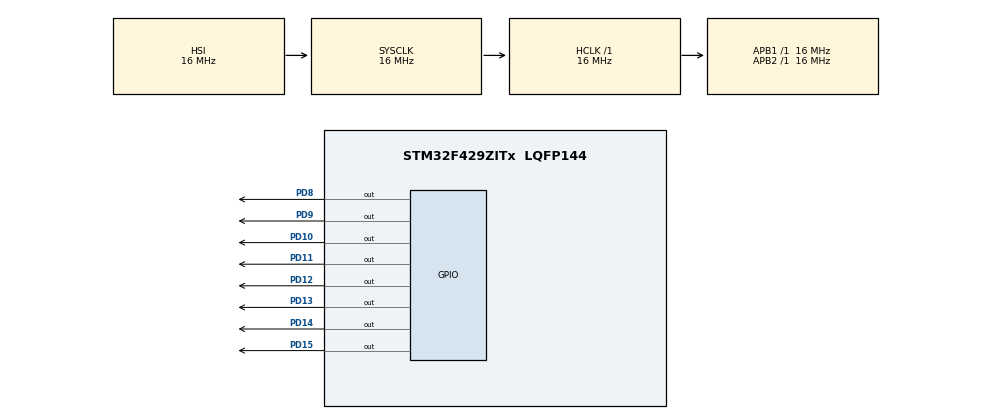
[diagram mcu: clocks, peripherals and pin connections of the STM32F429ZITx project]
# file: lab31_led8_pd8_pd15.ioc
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Mcu.Family=STM32F4
Mcu.Name=STM32F429ZITx
Mcu.Package=LQFP144
NVIC.PriorityGroup=NVIC_PRIORITYGROUP_4
PD10.Signal=GPIO_Output
PD11.Signal=GPIO_Output
PD12.Signal=GPIO_Output
PD13.Signal=GPIO_Output
PD14.Signal=GPIO_Output
PD15.Signal=GPIO_Output
PD8.Signal=GPIO_Output
PD9.Signal=GPIO_Output
ProjectManager.HeapSize=0x200
ProjectManager.StackSize=0x400
ProjectManager.TargetToolchain=STM32CubeIDE
RCC.AHBFreq_Value=16000000
RCC.APB1Freq_Value=16000000
RCC.APB2Freq_Value=16000000
RCC.CortexFreq_Value=16000000
RCC.HSE_VALUE=25000000
RCC.HSI_VALUE=16000000
RCC.LSE_VALUE=32768
RCC.SYSCLKFreq_VALUE=16000000
RCC.VCOOutputFreq_Value=192000000
board=custom

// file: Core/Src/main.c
/* USER CODE BEGIN Header */
/**
  ******************************************************************************
  * @file           : main.c
  * @brief          : Main program body
  ******************************************************************************
  * @attention
  *
  * Copyright (c) 2026 STMicroelectronics.
  * All rights reserved.
  *
  * This software is licensed under terms that can be found in the LICENSE file
  * in the root directory of this software component.
  * If no LICENSE file comes with this software, it is provided AS-IS.
  *
  ******************************************************************************
  */
/* USER CODE END Header */

#include "main.h"

/* USER CODE BEGIN PD */
#define MODE_ORIGINAL      0
#define MODE_RUN_L         1
#define MODE_RUN_R         2
#define MODE_FLASH         3
#define MODE_SPOT_BUMPER   4
/* USER CODE END PD */

/* USER CODE BEGIN PV */
uint8_t LED_Value = 0x00;
/* USER CODE END PV */

void SystemClock_Config(void);
static void MX_GPIO_Init(void);

/* USER CODE BEGIN PFP */
uint8_t DisplayLEDs(uint8_t mode);
void WriteLEDBar(uint8_t value);
/* USER CODE END PFP */

/* USER CODE BEGIN 0 */

/*
  Ghi 8 bit ra dãy LED đơn:
  bit7 -> PD15
  bit6 -> PD14
  bit5 -> PD13
  bit4 -> PD12
  bit3 -> PD11
  bit2 -> PD10
  bit1 -> PD9
  bit0 -> PD8
*/
void WriteLEDBar(uint8_t value)
{
  HAL_GPIO_WritePin(GPIOD, GPIO_PIN_15, (value & 0x80) ? GPIO_PIN_SET : GPIO_PIN_RESET);
  HAL_GPIO_WritePin(GPIOD, GPIO_PIN_14, (value & 0x40) ? GPIO_PIN_SET : GPIO_PIN_RESET);
  HAL_GPIO_WritePin(GPIOD, GPIO_PIN_13, (value & 0x20) ? GPIO_PIN_SET : GPIO_PIN_RESET);
  HAL_GPIO_WritePin(GPIOD, GPIO_PIN_12, (value & 0x10) ? GPIO_PIN_SET : GPIO_PIN_RESET);
  HAL_GPIO_WritePin(GPIOD, GPIO_PIN_11, (value & 0x08) ? GPIO_PIN_SET : GPIO_PIN_RESET);
  HAL_GPIO_WritePin(GPIOD, GPIO_PIN_10, (value & 0x04) ? GPIO_PIN_SET : GPIO_PIN_RESET);
  HAL_GPIO_WritePin(GPIOD, GPIO_PIN_9,  (value & 0x02) ? GPIO_PIN_SET : GPIO_PIN_RESET);
  HAL_GPIO_WritePin(GPIOD, GPIO_PIN_8,  (value & 0x01) ? GPIO_PIN_SET : GPIO_PIN_RESET);
}

/*
  Hàm chạy 1 bước hiệu ứng.
  Trả về:
    0 -> chưa hết 1 chu kỳ
    1 -> vừa chạy xong 1 chu kỳ của mode hiện tại
*/
uint8_t DisplayLEDs(uint8_t mode)
{
  static uint8_t last_mode = 255;
  static uint8_t flash_state = 0;
  static uint8_t bumper_index = 0;
  uint8_t cycle_done = 0;

  static const uint8_t bumper_pattern[] =
  {
    0x00,   // 00000000
    0x81,   // 10000001
    0x42,   // 01000010
    0x24,   // 00100100
    0x18,   // 00011000
    0x18,   // giữ giữa thêm 1 nhịp
    0x24,
    0x42,
    0x81,
    0x00
  };

  /* Nếu mới đổi mode thì reset trạng thái */
  if (mode != last_mode)
  {
    last_mode = mode;
    LED_Value = 0x00;
    flash_state = 0;
    bumper_index = 0;
  }

  switch (mode)
  {
    case MODE_ORIGINAL:
      /*
        Quay vòng bit:
        00000001 -> 10000000 -> 01000000 -> ... -> 00000001
      */
      if (LED_Value == 0x00)
      {
        LED_Value = 0x01;
      }
      else
      {
        LED_Value = (uint8_t)((LED_Value >> 1) | (LED_Value << 7));
        if (LED_Value == 0x01)
        {
          cycle_done = 1;
        }
      }
      break;

    case MODE_RUN_L:
      /*
        Running spot L: bật lần lượt từng LED từ phải qua trái
        00000000 -> 00000001 -> 00000010 -> ... -> 10000000 -> 00000000
      */
      if (LED_Value == 0x00)
      {
        LED_Value = 0x01;
      }
      else if (LED_Value == 0x80)
      {
        LED_Value = 0x00;
        cycle_done = 1;
      }
      else
      {
        LED_Value <<= 1;
      }
      break;

    case MODE_RUN_R:
      /*
        Running spot R: bật lần lượt từng LED từ trái qua phải
        00000000 -> 10000000 -> 01000000 -> ... -> 00000001 -> 00000000
      */
      if (LED_Value == 0x00)
      {
        LED_Value = 0x80;
      }
      else if (LED_Value == 0x01)
      {
        LED_Value = 0x00;
        cycle_done = 1;
      }
      else
      {
        LED_Value >>= 1;
      }
      break;

    case MODE_FLASH:
      /*
        Flash:
        00000000 -> 11111111 -> 00000000
        Khi quay về 00000000 thì tính là hết 1 chu kỳ
      */
      flash_state = !flash_state;
      LED_Value = flash_state ? 0xFF : 0x00;

      if (LED_Value == 0x00)
      {
        cycle_done = 1;
      }
      break;

    case MODE_SPOT_BUMPER:
      /*
        Spot bumper:
        2 LED đối xứng từ ngoài vào trong rồi từ trong ra ngoài
      */
      LED_Value = bumper_pattern[bumper_index];
      bumper_index++;

      if (bumper_index >= (sizeof(bumper_pattern) / sizeof(bumper_pattern[0])))
      {
        bumper_index = 0;
        cycle_done = 1;
      }
      break;

    default:
      LED_Value = 0x00;
      break;
  }

  WriteLEDBar(LED_Value);
  return cycle_done;
}

/* USER CODE END 0 */

int main(void)
{
  /* USER CODE BEGIN 1 */
  uint8_t mode_index = 0;
  uint8_t repeat_count = 0;

  const uint8_t mode_list[] =
  {
    MODE_RUN_L,
    MODE_RUN_R,
    MODE_FLASH,
    MODE_SPOT_BUMPER
  };
  /* USER CODE END 1 */

  /* MCU Configuration--------------------------------------------------------*/

  /* Reset of all peripherals, Initializes the Flash interface and the Systick. */
  HAL_Init();

  /* Configure the system clock */
  SystemClock_Config();

  /* Initialize all configured peripherals */
  MX_GPIO_Init();

  /* Infinite loop */
  /* USER CODE BEGIN WHILE */
  while (1)
  {
    /*
      Mỗi lần gọi DisplayLEDs() là chạy 1 bước nhỏ của hiệu ứng.
      Nếu hàm trả về 1 nghĩa là vừa xong 1 chu kỳ.
      Đủ 2 chu kỳ thì chuyển mode tiếp theo.
    */
    if (DisplayLEDs(mode_list[mode_index]))
    {
      repeat_count++;

      if (repeat_count >= 2)
      {
        repeat_count = 0;
        mode_index++;

        if (mode_index >= (sizeof(mode_list) / sizeof(mode_list[0])))
        {
          mode_index = 0;
        }
      }
    }

    HAL_Delay(60);   // chỉnh tốc độ hiệu ứng ở đây
    /* USER CODE END WHILE */

  }
}

void SystemClock_Config(void)
{
  RCC_OscInitTypeDef RCC_OscInitStruct = {0};
  RCC_ClkInitTypeDef RCC_ClkInitStruct = {0};

  /** Configure the main internal regulator output voltage
  */
  __HAL_RCC_PWR_CLK_ENABLE();
  __HAL_PWR_VOLTAGESCALING_CONFIG(PWR_REGULATOR_VOLTAGE_SCALE3);

  /** Initializes the RCC Oscillators according to the specified parameters
  * in the RCC_OscInitTypeDef structure.
  */
  RCC_OscInitStruct.OscillatorType = RCC_OSCILLATORTYPE_HSI;
  RCC_OscInitStruct.HSIState = RCC_HSI_ON;
  RCC_OscInitStruct.HSICalibrationValue = RCC_HSICALIBRATION_DEFAULT;
  RCC_OscInitStruct.PLL.PLLState = RCC_PLL_NONE;
  if (HAL_RCC_OscConfig(&RCC_OscInitStruct) != HAL_OK)
  {
    Error_Handler();
  }

  /** Initializes the CPU, AHB and APB buses clocks
  */
  RCC_ClkInitStruct.ClockType = RCC_CLOCKTYPE_HCLK | RCC_CLOCKTYPE_SYSCLK
                              | RCC_CLOCKTYPE_PCLK1 | RCC_CLOCKTYPE_PCLK2;
  RCC_ClkInitStruct.SYSCLKSource = RCC_SYSCLKSOURCE_HSI;
  RCC_ClkInitStruct.AHBCLKDivider = RCC_SYSCLK_DIV1;
  RCC_ClkInitStruct.APB1CLKDivider = RCC_HCLK_DIV1;
  RCC_ClkInitStruct.APB2CLKDivider = RCC_HCLK_DIV1;

  if (HAL_RCC_ClockConfig(&RCC_ClkInitStruct, FLASH_LATENCY_0) != HAL_OK)
  {
    Error_Handler();
  }
}

static void MX_GPIO_Init(void)
{
  GPIO_InitTypeDef GPIO_InitStruct = {0};

  /* GPIO Ports Clock Enable */
  __HAL_RCC_GPIOD_CLK_ENABLE();

  /* Configure GPIO pin Output Level */
  HAL_GPIO_WritePin(GPIOD,
                    GPIO_PIN_8 | GPIO_PIN_9 | GPIO_PIN_10 | GPIO_PIN_11 |
                    GPIO_PIN_12 | GPIO_PIN_13 | GPIO_PIN_14 | GPIO_PIN_15,
                    GPIO_PIN_RESET);

  /* Configure GPIO pins : PD8 PD9 PD10 PD11 PD12 PD13 PD14 PD15 */
  GPIO_InitStruct.Pin = GPIO_PIN_8 | GPIO_PIN_9 | GPIO_PIN_10 | GPIO_PIN_11 |
                        GPIO_PIN_12 | GPIO_PIN_13 | GPIO_PIN_14 | GPIO_PIN_15;
  GPIO_InitStruct.Mode = GPIO_MODE_OUTPUT_PP;
  GPIO_InitStruct.Pull = GPIO_NOPULL;
  GPIO_InitStruct.Speed = GPIO_SPEED_FREQ_LOW;
  HAL_GPIO_Init(GPIOD, &GPIO_InitStruct);

}

void Error_Handler(void)
{
  __disable_irq();
  while (1)
  {
  }
}
